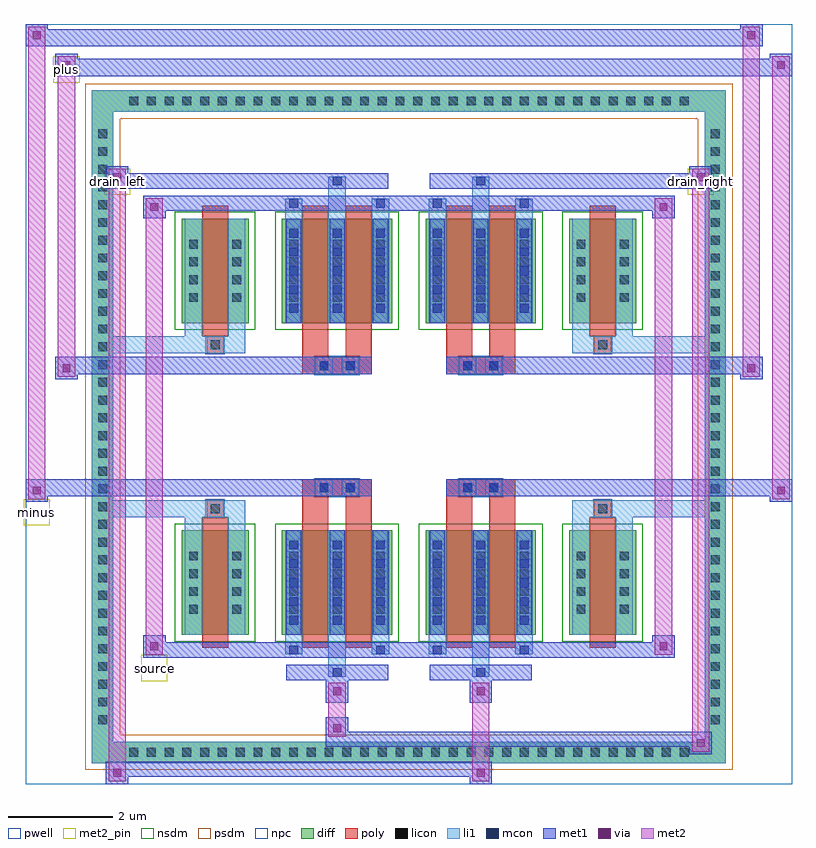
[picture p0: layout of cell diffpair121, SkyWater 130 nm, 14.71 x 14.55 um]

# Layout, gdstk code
import gdstk
lib = gdstk.Library(unit=1e-6, precision=5e-09)
def R(c, l, rs):  # rectangles x0, y0, x1, y1
    for r in rs: c.add(gdstk.rectangle(r[:2], r[2:], *l))
def A(c, l, x, y, w, h, nx, ny, dx, dy):  # array of equal rectangles
    R(c, l, [(x+i*dx, y+j*dy, x+i*dx+w, y+j*dy+h) for i in range(nx) for j in range(ny)])
def P(c, l, *ps):  # polygons
    for p in ps: c.add(gdstk.Polygon(p, *l))
pwell = (64, 44)
diff = (65, 20)
poly = (66, 20)
licon = (66, 44)
li1 = (67, 20)
mcon = (67, 44)
met1 = (68, 20)
via = (68, 44)
met2_pin = (69, 16)
met2 = (69, 20)
nsdm = (93, 44)
psdm = (94, 20)
npc = (95, 20)

diffpair121 = lib.new_cell('diffpair121')
R(diffpair121, pwell, [(-7.34,-6.84,7.34,7.71), (-4.66,-5.03,-0.01,-0.805), (0.01,-5.03,4.66,-0.805), (-4.66,0.805,-0.01,5.03), (0.01,0.805,4.66,5.03)])
A(diffpair121, diff, -5.475, -6.44, 0.41, 0.41, 32, 2, 0.34, 12.47)
A(diffpair121, diff, -6.07, -5.815, 0.41, 0.41, 1, 34, 0, 0.34)
A(diffpair121, diff, 5.66, -5.815, 0.41, 0.41, 1, 34, 0, 0.34)
R(diffpair121, diff, [(-5.475,-6.44,5.475,-6.03), (-6.07,-5.815,-5.66,5.815), (5.66,-5.815,6.07,5.815), (-4.35,-3.985,-3.07,-1.985), (-2.43,-3.985,-0.32,-1.985), (0.32,-3.985,2.43,-1.985), (3.07,-3.985,4.35,-1.985), (-4.35,1.985,-3.07,3.985), (-2.43,1.985,-0.32,3.985), (0.32,1.985,2.43,3.985), (3.07,1.985,4.35,3.985), (-5.475,6.03,5.475,6.44)])
P(diffpair121, diff, [(6.07,6.44),(-6.07,6.44),(-6.07,-6.03),(-5.66,-6.03),(-5.66,6.03),(5.66,6.03),(5.66,-6.03),(-5.66,-6.03),(-6.07,-6.03),(-6.07,-6.44),(6.07,-6.44)])
R(diffpair121, poly, [(-3.96,-4.235,-3.46,-1.735), (-2.04,-4.235,-1.54,-1.735), (-1.21,-4.235,-0.71,-1.735), (0.71,-4.235,1.21,-1.735), (1.54,-4.235,2.04,-1.735), (3.46,-4.235,3.96,-1.735), (-3.875,-1.735,-3.545,-1.405), (-3.875,-1.735,-3.545,-1.405), (-2.04,-1.735,-1.54,-1.335), (-1.21,-1.735,-0.71,-1.335), (0.71,-1.735,1.21,-1.335), (1.54,-1.735,2.04,-1.335), (3.545,-1.735,3.875,-1.405), (3.545,-1.735,3.875,-1.405), (-2.04,-1.335,-0.71,-1.005), (-1.79,-1.335,-1.46,-1.005), (-1.29,-1.335,-0.96,-1.005), (0.71,-1.335,2.04,-1.005), (0.96,-1.335,1.29,-1.005), (1.46,-1.335,1.79,-1.005), (-2.04,1.005,-0.71,1.335), (-1.79,1.005,-1.46,1.335), (-1.29,1.005,-0.96,1.335), (0.71,1.005,2.04,1.335), (0.96,1.005,1.29,1.335), (1.46,1.005,1.79,1.335), (-2.04,1.335,-1.54,1.735), (-1.21,1.335,-0.71,1.735), (0.71,1.335,1.21,1.735), (1.54,1.335,2.04,1.735), (-3.875,1.405,-3.545,1.735), (-3.875,1.405,-3.545,1.735), (3.545,1.405,3.875,1.735), (3.545,1.405,3.875,1.735), (-3.96,1.735,-3.46,4.235), (-2.04,1.735,-1.54,4.235), (-1.21,1.735,-0.71,4.235), (0.71,1.735,1.21,4.235), (1.54,1.735,2.04,4.235), (3.46,1.735,3.96,4.235)])
A(diffpair121, licon, -5.355, -6.32, 0.17, 0.17, 32, 2, 0.34, 12.47)
A(diffpair121, licon, -5.95, -5.695, 0.17, 0.17, 1, 34, 0, 0.34)
A(diffpair121, licon, 5.78, -5.695, 0.17, 0.17, 1, 34, 0, 0.34)
A(diffpair121, licon, -4.21, -3.58, 0.17, 0.17, 1, 4, 0, 0.34)
A(diffpair121, licon, -3.38, -3.58, 0.17, 0.17, 1, 4, 0, 0.34)
A(diffpair121, licon, -2.29, -3.58, 0.17, 0.17, 3, 4, 0.83, 0.34)
A(diffpair121, licon, 0.46, -3.58, 0.17, 0.17, 3, 4, 0.83, 0.34)
A(diffpair121, licon, 3.21, -3.58, 0.17, 0.17, 1, 4, 0, 0.34)
A(diffpair121, licon, 4.04, -3.58, 0.17, 0.17, 1, 4, 0, 0.34)
A(diffpair121, licon, -4.21, 2.39, 0.17, 0.17, 1, 4, 0, 0.34)
A(diffpair121, licon, -3.38, 2.39, 0.17, 0.17, 1, 4, 0, 0.34)
A(diffpair121, licon, -2.29, 2.39, 0.17, 0.17, 3, 4, 0.83, 0.34)
A(diffpair121, licon, 0.46, 2.39, 0.17, 0.17, 3, 4, 0.83, 0.34)
A(diffpair121, licon, 3.21, 2.39, 0.17, 0.17, 1, 4, 0, 0.34)
A(diffpair121, licon, 4.04, 2.39, 0.17, 0.17, 1, 4, 0, 0.34)
R(diffpair121, licon, [(-3.795,-1.655,-3.625,-1.485), (3.625,-1.655,3.795,-1.485), (-1.71,-1.255,-1.54,-1.085), (-1.21,-1.255,-1.04,-1.085), (1.04,-1.255,1.21,-1.085), (1.54,-1.255,1.71,-1.085), (-1.71,1.085,-1.54,1.255), (-1.21,1.085,-1.04,1.255), (1.04,1.085,1.21,1.255), (1.54,1.085,1.71,1.255), (-3.795,1.485,-3.625,1.655), (3.625,1.485,3.795,1.655)])
A(diffpair121, li1, -5.435, -6.4, 0.33, 0.33, 32, 2, 0.34, 12.47)
A(diffpair121, li1, -6.03, -5.775, 0.33, 0.33, 1, 34, 0, 0.34)
A(diffpair121, li1, 5.7, -5.775, 0.33, 0.33, 1, 34, 0, 0.34)
A(diffpair121, li1, -2.37, -3.985, 0.33, 2, 3, 2, 0.83, 5.97)
A(diffpair121, li1, 0.38, -3.985, 0.33, 2, 3, 2, 0.83, 5.97)
A(diffpair121, li1, -2.29, -3.79, 0.17, 0.17, 3, 5, 0.83, 0.36)
A(diffpair121, li1, -2.29, -3.79, 0.17, 1.61, 3, 2, 0.83, 5.97)
A(diffpair121, li1, 0.46, -3.79, 0.17, 0.17, 3, 5, 0.83, 0.36)
A(diffpair121, li1, 0.46, -3.79, 0.17, 1.61, 3, 2, 0.83, 5.97)
A(diffpair121, li1, -4.29, -3.66, 0.33, 0.33, 1, 4, 0, 0.34)
A(diffpair121, li1, -3.46, -3.66, 0.33, 0.33, 1, 4, 0, 0.34)
A(diffpair121, li1, -2.37, -3.66, 0.33, 0.33, 3, 4, 0.83, 0.34)
A(diffpair121, li1, 0.38, -3.66, 0.33, 0.33, 3, 4, 0.83, 0.34)
A(diffpair121, li1, 3.13, -3.66, 0.33, 0.33, 1, 4, 0, 0.34)
A(diffpair121, li1, 3.96, -3.66, 0.33, 0.33, 1, 4, 0, 0.34)
A(diffpair121, li1, -2.29, 2.18, 0.17, 0.17, 3, 5, 0.83, 0.36)
A(diffpair121, li1, 0.46, 2.18, 0.17, 0.17, 3, 5, 0.83, 0.36)
A(diffpair121, li1, -4.29, 2.31, 0.33, 0.33, 1, 4, 0, 0.34)
A(diffpair121, li1, -3.46, 2.31, 0.33, 0.33, 1, 4, 0, 0.34)
A(diffpair121, li1, -2.37, 2.31, 0.33, 0.33, 3, 4, 0.83, 0.34)
A(diffpair121, li1, 0.38, 2.31, 0.33, 0.33, 3, 4, 0.83, 0.34)
A(diffpair121, li1, 3.13, 2.31, 0.33, 0.33, 1, 4, 0, 0.34)
A(diffpair121, li1, 3.96, 2.31, 0.33, 0.33, 1, 4, 0, 0.34)
R(diffpair121, li1, [(-6.07,-6.44,-5.66,-6.03), (-6.07,-6.44,-5.66,-6.03), (-5.66,-6.44,5.66,-6.03), (5.66,-6.44,6.07,-6.03), (5.66,-6.44,6.07,-6.03), (-6.07,-6.03,-5.66,6.03), (5.66,-6.03,6.07,6.03), (-1.54,-4.79,-1.21,-3.985), (-1.46,-4.79,-1.29,-4.62), (1.21,-4.79,1.54,-3.985), (1.29,-4.79,1.46,-4.62), (-2.37,-4.36,-2.04,-3.985), (-2.29,-4.36,-2.12,-4.19), (-0.71,-4.36,-0.38,-3.985), (-0.63,-4.36,-0.46,-4.19), (0.38,-4.36,0.71,-3.985), (0.46,-4.36,0.63,-4.19), (2.04,-4.36,2.37,-3.985), (2.12,-4.36,2.29,-4.19), (-4.29,-3.985,-3.96,-1.985), (-3.46,-3.985,-3.13,-1.985), (3.13,-3.985,3.46,-1.985), (3.96,-3.985,4.29,-1.985), (-4.29,-1.985,-3.96,-1.405), (-3.46,-1.985,-3.13,-1.405), (3.13,-1.985,3.46,-1.405), (3.96,-1.985,4.29,-1.405), (-6.07,-1.735,-3.875,-1.405), (-4.29,-1.735,-3.875,-1.405), (-3.875,-1.735,-3.545,-1.405), (-3.545,-1.735,-3.13,-1.405), (3.13,-1.735,3.545,-1.405), (3.545,-1.735,3.875,-1.405), (3.545,-1.735,6.07,-1.405), (3.875,-1.735,4.29,-1.405), (-1.79,-1.335,-1.46,-1.005), (-1.29,-1.335,-0.96,-1.005), (0.96,-1.335,1.29,-1.005), (1.46,-1.335,1.79,-1.005), (-1.79,1.005,-1.46,1.335), (-1.29,1.005,-0.96,1.335), (0.96,1.005,1.29,1.335), (1.46,1.005,1.79,1.335), (-6.07,1.405,-3.875,1.735), (-4.29,1.405,-3.875,1.735), (-4.29,1.405,-3.96,1.985), (-3.875,1.405,-3.545,1.735), (-3.545,1.405,-3.13,1.735), (-3.46,1.405,-3.13,1.985), (3.13,1.405,3.545,1.735), (3.13,1.405,3.46,1.985), (3.545,1.405,3.875,1.735), (3.545,1.405,6.07,1.735), (3.875,1.405,4.29,1.735), (3.96,1.405,4.29,1.985), (-4.29,1.985,-3.96,3.985), (-3.46,1.985,-3.13,3.985), (3.13,1.985,3.46,3.985), (3.96,1.985,4.29,3.985), (-2.37,3.985,-2.04,4.36), (-1.54,3.985,-1.21,4.79), (-0.71,3.985,-0.38,4.36), (0.38,3.985,0.71,4.36), (1.21,3.985,1.54,4.79), (2.04,3.985,2.37,4.36), (-2.29,4.19,-2.12,4.36), (-0.63,4.19,-0.46,4.36), (0.46,4.19,0.63,4.36), (2.12,4.19,2.29,4.36), (-1.46,4.62,-1.29,4.79), (1.29,4.62,1.46,4.79), (-6.07,6.03,-5.66,6.44), (-6.07,6.03,-5.66,6.44), (-5.66,6.03,5.66,6.44), (5.66,6.03,6.07,6.44), (5.66,6.03,6.07,6.44)])
A(diffpair121, mcon, -2.29, -3.79, 0.17, 0.17, 3, 5, 0.83, 0.36)
A(diffpair121, mcon, 0.46, -3.79, 0.17, 0.17, 3, 5, 0.83, 0.36)
A(diffpair121, mcon, -2.29, 2.18, 0.17, 0.17, 3, 5, 0.83, 0.36)
A(diffpair121, mcon, 0.46, 2.18, 0.17, 0.17, 3, 5, 0.83, 0.36)
R(diffpair121, mcon, [(-1.46,-4.79,-1.29,-4.62), (1.29,-4.79,1.46,-4.62), (-2.29,-4.36,-2.12,-4.19), (-0.63,-4.36,-0.46,-4.19), (0.46,-4.36,0.63,-4.19), (2.12,-4.36,2.29,-4.19), (-1.71,-1.255,-1.54,-1.085), (-1.21,-1.255,-1.04,-1.085), (1.04,-1.255,1.21,-1.085), (1.54,-1.255,1.71,-1.085), (-1.71,1.085,-1.54,1.255), (-1.21,1.085,-1.04,1.255), (1.04,1.085,1.21,1.255), (1.54,1.085,1.71,1.255), (-2.29,4.19,-2.12,4.36), (-0.63,4.19,-0.46,4.36), (0.46,4.19,0.63,4.36), (2.12,4.19,2.29,4.36), (-1.46,4.62,-1.29,4.79), (1.29,4.62,1.46,4.79)])
A(diffpair121, met1, -2.35, -3.985, 0.29, 2, 3, 2, 0.83, 5.97)
A(diffpair121, met1, 0.4, -3.985, 0.29, 2, 3, 2, 0.83, 5.97)
A(diffpair121, met1, -2.35, -3.85, 0.29, 0.29, 3, 5, 0.83, 0.36)
A(diffpair121, met1, 0.4, -3.85, 0.29, 0.29, 3, 5, 0.83, 0.36)
A(diffpair121, met1, -2.35, 2.12, 0.29, 0.29, 3, 5, 0.83, 0.36)
A(diffpair121, met1, 0.4, 2.12, 0.29, 0.29, 3, 5, 0.83, 0.36)
R(diffpair121, met1, [(-5.8,-6.84,-5.37,-6.41), (1.16,-6.84,1.59,-6.41), (-5.8,-6.7,1.59,-6.41), (5.37,-6.27,5.8,-5.84), (-1.59,-6.13,5.8,-5.84), (-1.59,-5.99,-1.16,-5.56), (-1.59,-5.28,-1.16,-4.85), (1.16,-5.28,1.59,-4.85), (-2.35,-4.85,-0.4,-4.56), (-1.52,-4.85,-1.23,-4.56), (0.4,-4.85,2.35,-4.56), (1.23,-4.85,1.52,-4.56), (-5.09,-4.42,-4.66,-3.99), (-5.09,-4.42,-2.35,-4.13), (-2.35,-4.42,-2.06,-4.13), (-2.35,-4.42,-0.4,-4.13), (-0.69,-4.42,-0.4,-4.13), (-0.4,-4.42,0.4,-4.13), (0.4,-4.42,0.69,-4.13), (0.4,-4.42,2.35,-4.13), (2.06,-4.42,2.35,-4.13), (2.35,-4.42,5.09,-4.13), (4.66,-4.42,5.09,-3.99), (-7.34,-1.435,-6.91,-1.005), (6.91,-1.435,7.34,-1.005), (-7.34,-1.335,-0.71,-1.005), (-2.04,-1.335,-0.71,-1.005), (0.71,-1.335,2.04,-1.005), (0.71,-1.335,7.34,-1.005), (-1.77,-1.315,-1.48,-1.025), (-1.27,-1.315,-0.98,-1.025), (0.98,-1.315,1.27,-1.025), (1.48,-1.315,1.77,-1.025), (-6.77,0.905,-6.34,1.335), (6.34,0.905,6.77,1.335), (-6.77,1.005,-2.04,1.335), (-2.04,1.005,-0.71,1.335), (0.71,1.005,2.04,1.335), (2.04,1.005,6.77,1.335), (-1.77,1.025,-1.48,1.315), (-1.27,1.025,-0.98,1.315), (0.98,1.025,1.27,1.315), (1.48,1.025,1.77,1.315), (-5.09,3.99,-4.66,4.42), (4.66,3.99,5.09,4.42), (-5.09,4.13,-2.35,4.42), (-2.35,4.13,-2.06,4.42), (-2.35,4.13,-0.4,4.42), (-0.69,4.13,-0.4,4.42), (-0.4,4.13,0.4,4.42), (0.4,4.13,0.69,4.42), (0.4,4.13,2.35,4.42), (2.06,4.13,2.35,4.42), (2.35,4.13,5.09,4.42), (-5.8,4.56,-5.37,4.99), (-5.8,4.56,-2.35,4.85), (-2.35,4.56,-0.4,4.85), (-1.52,4.56,-1.23,4.85), (0.4,4.56,2.35,4.85), (1.23,4.56,1.52,4.85), (2.35,4.56,5.8,4.85), (5.37,4.56,5.8,4.99), (-6.77,6.71,-6.34,7.14), (-6.77,6.71,-4.66,7.04), (-4.66,6.71,4.66,7.04), (4.66,6.71,7.34,7.04), (6.91,6.71,7.34,7.14), (-7.34,7.28,-6.91,7.71), (-7.34,7.28,-4.66,7.61), (-4.66,7.28,4.66,7.61), (4.66,7.28,6.77,7.61), (6.34,7.28,6.77,7.71)])
R(diffpair121, via, [(-5.66,-6.7,-5.51,-6.55), (1.3,-6.7,1.45,-6.55), (5.51,-6.13,5.66,-5.98), (-1.45,-5.85,-1.3,-5.7), (-1.45,-5.14,-1.3,-4.99), (1.3,-5.14,1.45,-4.99), (-4.95,-4.28,-4.8,-4.13), (4.8,-4.28,4.95,-4.13), (-7.2,-1.295,-7.05,-1.145), (7.05,-1.295,7.2,-1.145), (-6.63,1.045,-6.48,1.195), (6.48,1.045,6.63,1.195), (-4.95,4.13,-4.8,4.28), (4.8,4.13,4.95,4.28), (-5.66,4.7,-5.51,4.85), (5.51,4.7,5.66,4.85), (-6.63,6.85,-6.48,7), (7.05,6.85,7.2,7), (-7.2,7.42,-7.05,7.57), (6.48,7.42,6.63,7.57)])
R(diffpair121, met2_pin, [(-5.125,-4.87,-4.625,-4.37), (-7.375,-1.885,-6.875,-1.385), (-5.835,4.44,-5.335,4.94), (5.335,4.44,5.835,4.94), (-6.805,6.59,-6.305,7.09)])
R(diffpair121, met2, [(-5.75,-6.79,-5.42,-6.46), (-5.75,-6.79,-5.42,4.94), (1.21,-6.79,1.54,-6.46), (1.21,-6.46,1.54,-5.23), (5.42,-6.22,5.75,-5.89), (5.42,-6.22,5.75,4.94), (-1.54,-5.94,-1.21,-5.61), (-1.54,-5.61,-1.21,-5.23), (-1.54,-5.23,-1.21,-4.9), (1.21,-5.23,1.54,-4.9), (-5.04,-4.37,-4.71,-4.04), (-5.04,-4.37,-4.71,4.37), (4.71,-4.37,5.04,-4.04), (4.71,-4.37,5.04,4.37), (-7.29,-1.385,-6.96,-1.055), (-7.29,-1.385,-6.96,7.66), (6.96,-1.385,7.29,-1.055), (6.96,-1.385,7.29,7.09), (-6.72,0.955,-6.39,1.285), (-6.72,0.955,-6.39,7.09), (6.39,0.955,6.72,1.285), (6.39,0.955,6.72,7.66), (-5.04,4.04,-4.71,4.37), (4.71,4.04,5.04,4.37), (-5.75,4.61,-5.42,4.94), (5.42,4.61,5.75,4.94), (-6.72,6.76,-6.39,7.09), (6.96,6.76,7.29,7.09), (-7.29,7.33,-6.96,7.66), (6.39,7.33,6.72,7.66)])
P(diffpair121, met2, [(7.29,-1.385),(7.29,-1.385),(7.29,-1.055),(7.29,-1.055)],
  [(7.29,6.76),(7.29,6.76),(7.29,7.09),(7.29,7.09)],
  [(-6.96,-1.385),(-6.96,-1.385),(-6.96,-1.055),(-6.96,-1.055)],
  [(-6.96,7.33),(-6.96,7.33),(-6.96,7.66),(-6.96,7.66)],
  [(6.72,0.955),(6.72,0.955),(6.72,1.285),(6.72,1.285)],
  [(6.72,7.33),(6.72,7.33),(6.72,7.66),(6.72,7.66)],
  [(-6.39,0.955),(-6.39,0.955),(-6.39,1.285),(-6.39,1.285)],
  [(-6.39,6.76),(-6.39,6.76),(-6.39,7.09),(-6.39,7.09)],
  [(-5.42,-6.79),(-5.42,-6.79),(-5.42,-6.46),(-5.42,-6.46)],
  [(-5.42,4.61),(-5.42,4.61),(-5.42,4.94),(-5.42,4.94)],
  [(5.75,-6.22),(5.75,-6.22),(5.75,-5.89),(5.75,-5.89)],
  [(5.75,4.61),(5.75,4.61),(5.75,4.94),(5.75,4.94)],
  [(-4.71,-4.37),(-4.71,-4.37),(-4.71,-4.04),(-4.71,-4.04)],
  [(-4.71,4.04),(-4.71,4.04),(-4.71,4.37),(-4.71,4.37)],
  [(5.04,-4.37),(5.04,-4.37),(5.04,-4.04),(5.04,-4.04)],
  [(5.04,4.04),(5.04,4.04),(5.04,4.37),(5.04,4.37)])
R(diffpair121, nsdm, [(-4.48,-4.115,-2.94,-1.855), (-2.56,-4.115,-0.19,-1.855), (0.19,-4.115,2.56,-1.855), (2.94,-4.115,4.48,-1.855), (-4.48,1.855,-2.94,4.115), (-2.56,1.855,-0.19,4.115), (0.19,1.855,2.56,4.115), (2.94,1.855,4.48,4.115)])
P(diffpair121, psdm, [(6.2,6.57),(-6.2,6.57),(-6.2,-5.9),(-5.53,-5.9),(-5.53,5.9),(5.53,5.9),(5.53,-5.9),(-5.53,-5.9),(-6.2,-5.9),(-6.2,-6.57),(6.2,-6.57)])
R(diffpair121, npc, [(-3.895,-1.755,-3.525,-1.385), (3.525,-1.755,3.895,-1.385), (-1.81,-1.355,-1.44,-0.985), (-1.81,-1.355,-0.94,-0.985), (-1.81,-1.355,-0.94,-0.985), (-1.31,-1.355,-0.94,-0.985), (0.94,-1.355,1.31,-0.985), (0.94,-1.355,1.81,-0.985), (0.94,-1.355,1.81,-0.985), (1.44,-1.355,1.81,-0.985), (-1.81,0.985,-1.44,1.355), (-1.81,0.985,-0.94,1.355), (-1.81,0.985,-0.94,1.355), (-1.31,0.985,-0.94,1.355), (0.94,0.985,1.31,1.355), (0.94,0.985,1.81,1.355), (0.94,0.985,1.81,1.355), (1.44,0.985,1.81,1.355), (-3.895,1.385,-3.525,1.755), (3.525,1.385,3.895,1.755)])
diffpair121.add(gdstk.Label('minus', (-7.125,-1.635), layer=69, texttype=5))
diffpair121.add(gdstk.Label('drain_right', (5.585,4.69), layer=69, texttype=5))
diffpair121.add(gdstk.Label('drain_left', (-5.585,4.69), layer=69, texttype=5))
diffpair121.add(gdstk.Label('source', (-4.875,-4.62), layer=69, texttype=5))
diffpair121.add(gdstk.Label('plus', (-6.555,6.84), layer=69, texttype=5))

lib.write_gds('diffpair121.gds')
